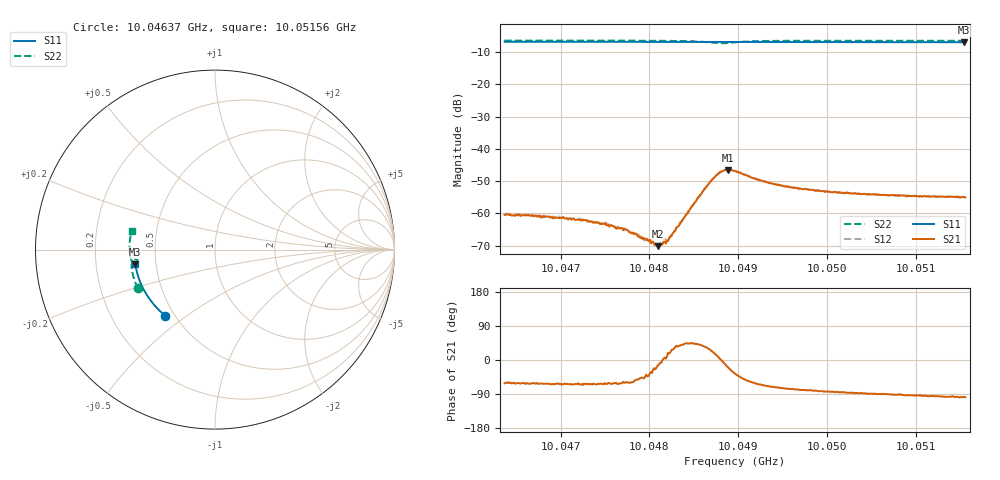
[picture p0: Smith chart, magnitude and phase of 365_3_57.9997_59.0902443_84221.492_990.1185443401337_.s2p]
#  HZ  S  RI  R  50.00
! Rohde & Schwarz Vector Network Analyzer
! Rohde-Schwarz,ZNB20-2Port,1311601062101988,3.16
! Created: UTC 3/21/2024, 1:06:41 AM
! freq[Hz]  re:S11  im:S11  re:S21  im:S21  re:S12  im:S12  re:S22  im:S22
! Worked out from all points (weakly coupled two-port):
!   401 points, 10.04637 GHz to 10.05156 GHz, reference 50 ohm
!   highest |S21| = -46.49 dB at 10.04889 GHz (marker M1); lowest = -70.2 dB at 10.04809 GHz (marker M2)
!   lowest |S11| = -6.9 dB at 10.05154 GHz (marker M3), VSWR 2.65, Z = 19 - j3.87 ohm
!   |S11| at or under -10 dB: nowhere
!   |S22| runs from -7.2 to -6.4 dB; largest |S21 - S12| = 0.00035
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1.004637e10  -0.2773 -0.3684  0.000451 -0.00083  0.000559 -0.00083  -0.4294 -0.2167
1.0046616e10  -0.2898 -0.3578  0.000459 -0.000836  0.000499 -0.000791  -0.4364 -0.2015
1.0047239e10  -0.3196 -0.3297  0.000351 -0.0007  0.000395 -0.00067  -0.4512 -0.1621
1.0047537e10  -0.3331 -0.3151  0.000325 -0.000577  0.000335 -0.000592  -0.457 -0.1422
1.0047706e10  -0.3404 -0.3068  0.000294 -0.000463  0.000331 -0.000468  -0.4597 -0.1306
1.0047861e10  -0.3467 -0.2987  0.000277 -0.000362  0.000322 -0.000361  -0.4621 -0.1195
1.0047939e10  -0.3501 -0.2947  0.000273 -0.00031  0.000261 -0.000273  -0.463 -0.1138
1.0048069e10  -0.3553 -0.288  0.000295 -0.000135  0.000331 -9.8e-05  -0.4643 -0.1039
1.0048095e10  -0.3564 -0.2866  0.0003 -7.62e-05  0.000317 -6.93e-05  -0.4645 -0.1018
1.0048108e10  -0.3568 -0.286  0.00031 -6.59e-05  0.000325 -4.5e-05  -0.4647 -0.101
1.0048198e10  -0.3605 -0.2813  0.000375 6.88e-05  0.000401 0.000125  -0.4651 -0.0934
1.004825e10  -0.3625 -0.2784  0.000412 0.00021  0.00039 0.000197  -0.465 -0.0894
1.0048536e10  -0.3732 -0.2631  0.00123 0.00112  0.00117 0.00118  -0.4588 -0.0634
1.0048717e10  -0.3794 -0.2528  0.00324 0.00121  0.00317 0.00142  -0.4407 -0.0532
1.0048808e10  -0.3824 -0.2478  0.00443 9.24e-07  0.00447 0.000294  -0.4316 -0.061
1.0048886e10  -0.3849 -0.2436  0.00446 -0.00158  0.00457 -0.00134  -0.4341 -0.0712
1.0048964e10  -0.3876 -0.2393  0.00364 -0.00267  0.00385 -0.00246  -0.4436 -0.0755
1.0049366e10  -0.4005 -0.2163  0.00098 -0.00278  0.00115 -0.00273  -0.471 -0.0463
1.0049832e10  -0.4136 -0.1884  0.000379 -0.00229  0.000478 -0.00225  -0.4762 -0.0101
1.0050701e10  -0.4325 -0.1347  -2.3e-05 -0.00191  8.81e-05 -0.00191  -0.4739 0.0502
1.0051544e10  -0.4446 -0.081  -0.000224 -0.00177  -0.000148 -0.00178  -0.4644 0.1058
1.0051557e10  -0.4448 -0.0802  -0.000256 -0.00175  -0.000163 -0.00177  -0.4643 0.1064
